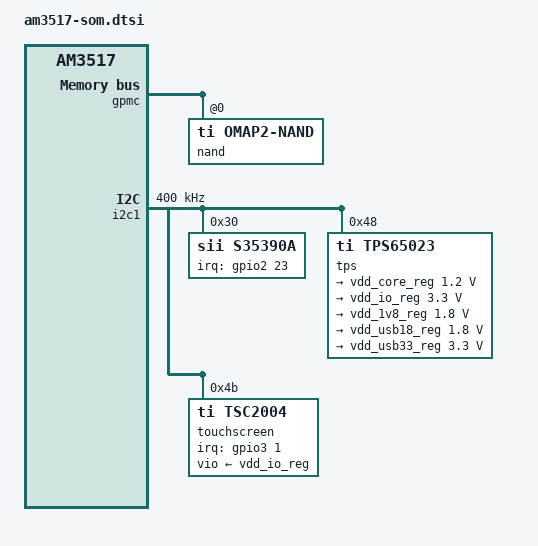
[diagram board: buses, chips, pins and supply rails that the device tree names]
/*
 * Copyright (C) 2016 Derald D. Woods <woods.technical@gmail.com>
 *
 * Based on am3517-evm.dts
 *
 * This program is free software; you can redistribute it and/or modify
 * it under the terms of the GNU General Public License version 2 as
 * published by the Free Software Foundation.
 */

/ {
	cpus {
		cpu@0 {
			cpu0-supply = <&vdd_core_reg>;
		};
	};
};

&gpmc {
	ranges = <0 0 0x30000000 0x1000000>;	/* CS0: 16MB for NAND */

	nand@0,0 {
		compatible = "ti,omap2-nand";
		linux,mtd-name = "micron,mt29f4g16abchch";
		reg = <0 0 4>; /* CS0, offset 0, IO size 4 */
		nand-bus-width = <16>;
		ti,nand-ecc-opt = "bch8";
		gpmc,sync-clk-ps = <0>;
		gpmc,cs-on-ns = <0>;
		gpmc,cs-rd-off-ns = <44>;
		gpmc,cs-wr-off-ns = <44>;
		gpmc,adv-on-ns = <6>;
		gpmc,adv-rd-off-ns = <34>;
		gpmc,adv-wr-off-ns = <44>;
		gpmc,we-off-ns = <40>;
		gpmc,oe-off-ns = <54>;
		gpmc,access-ns = <64>;
		gpmc,rd-cycle-ns = <82>;
		gpmc,wr-cycle-ns = <82>;
		gpmc,wr-access-ns = <40>;
		gpmc,wr-data-mux-bus-ns = <0>;
		gpmc,device-width = <2>;
		#address-cells = <1>;
		#size-cells = <1>;
	};
};

&i2c1 {
	clock-frequency = <400000>;

	s35390a: s35390a@30 {
		compatible = "sii,s35390a";
		reg = <0x30>;

		pinctrl-names = "default";
		pinctrl-0 = <&rtc_pins>;
		interrupts-extended = <&gpio2 23 IRQ_TYPE_EDGE_FALLING>; /* gpio_55 */
	};

	tps: tps65023@48 {
		compatible = "ti,tps65023";
		reg = <0x48>;

		regulators {
			vdd_core_reg: VDCDC1 {
				regulator-name = "vdd_core";
				compatible = "regulator-fixed";
				regulator-always-on;
				regulator-min-microvolt = <1200000>;
				regulator-max-microvolt = <1200000>;
			};

			vdd_io_reg: VDCDC2 {
				regulator-name = "vdd_io";
				compatible = "regulator-fixed";
				regulator-always-on;
				regulator-min-microvolt = <3300000>;
				regulator-max-microvolt = <3300000>;
			};

			vdd_1v8_reg: VDCDC3 {
				regulator-name = "vdd_1v8";
				compatible = "regulator-fixed";
				regulator-always-on;
				regulator-min-microvolt = <1800000>;
				regulator-max-microvolt = <1800000>;
			};

			vdd_usb18_reg: LDO1 {
				regulator-name = "vdd_usb18";
				compatible = "regulator-fixed";
				regulator-always-on;
				regulator-min-microvolt = <1800000>;
				regulator-max-microvolt = <1800000>;
			};

			vdd_usb33_reg: LDO2 {
				regulator-name = "vdd_usb33";
				compatible = "regulator-fixed";
				regulator-always-on;
				regulator-min-microvolt = <3300000>;
				regulator-max-microvolt = <3300000>;
			};
		};
	};

	touchscreen: tsc2004@4b {
		compatible = "ti,tsc2004";
		reg = <0x4b>;

		vio-supply = <&vdd_io_reg>;

		pinctrl-names = "default";
		pinctrl-0 = <&tsc2004_pins>;
		interrupts-extended = <&gpio3 1 IRQ_TYPE_EDGE_RISING>; /* gpio_65 */

		touchscreen-fuzz-x = <4>;
		touchscreen-fuzz-y = <7>;
		touchscreen-fuzz-pressure = <2>;
		touchscreen-size-x = <480>;
		touchscreen-size-y = <272>;
		touchscreen-max-pressure = <2048>;

		ti,x-plate-ohms = <280>;
		ti,esd-recovery-timeout-ms = <8000>;
	};
};

&omap3_pmx_core {

	rtc_pins: pinmux_rtc_pins {
		pinctrl-single,pins = <
			OMAP3_CORE1_IOPAD(0x20b6, PIN_INPUT_PULLUP | MUX_MODE4) /* gpmc_ncs4.gpio_55 */
		>;
	};

	tsc2004_pins: pinmux_tsc2004_pins {
		pinctrl-single,pins = <
			OMAP3_CORE1_IOPAD(0x20d2, PIN_INPUT | MUX_MODE4) /* gpmc_wait3.gpio_65 */
		>;
	};
};
